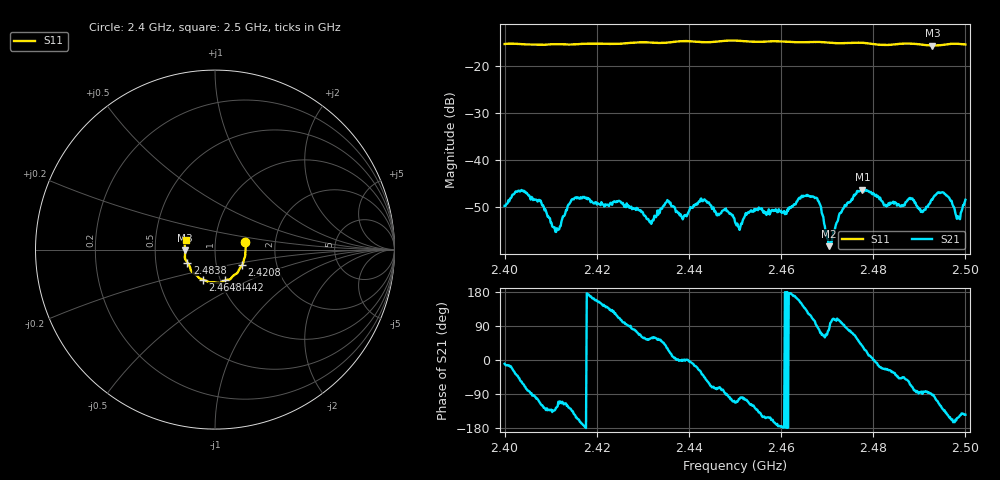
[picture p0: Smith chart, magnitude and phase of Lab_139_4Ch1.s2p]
# Hz S RI R 50
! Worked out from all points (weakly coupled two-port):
!   601 points, 2.4 GHz to 2.5 GHz, reference 50 ohm
!   highest |S21| = -46.22 dB at 2.4777 GHz (marker M1); lowest = -58.2 dB at 2.4703 GHz (marker M2)
!   lowest |S11| = -15.6 dB at 2.4928 GHz (marker M3), VSWR 1.40, Z = 35.8 - j0.366 ohm
!   |S11| at or under -10 dB: start of sweep to end of sweep
!   S12 and S22 are empty: the file has one direction only
!   S11 on the Smith chart (normalised r, x): 2.4 GHz: 1.40, +0.12; 2.4208 GHz: 1.33, -0.24; 2.4442 GHz: 1.05, -0.37; 2.4648 GHz: 0.83, -0.29; 2.4838 GHz: 0.73, -0.11; 2.5 GHz: 0.72, +0.08
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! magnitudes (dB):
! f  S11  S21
! 2.4 GHz  -15.3  -49.7
! 2.4042 GHz  -15.3  -46.4
! 2.4113 GHz  -15.3  -54.4
! 2.4143 GHz  -15.4  -48.8
! 2.4167 GHz  -15.2  -48.1
! 2.4208 GHz  -15.2  -49.5
! 2.4333 GHz  -15.0  -51.6
! 2.4442 GHz  -14.9  -48.9
! 2.45 GHz  -14.5  -53.1
! 2.4648 GHz  -14.9  -47.5
! 2.4667 GHz  -14.8  -47.7
! 2.4682 GHz  -14.8  -48.7
! 2.4703 GHz  -15.0  -58.2
! 2.4733 GHz  -15.1  -50.4
! 2.4777 GHz  -15.0  -46.2
! 2.4833 GHz  -15.4  -49.1
! 2.4838 GHz  -15.4  -49.2
! 2.4908 GHz  -15.4  -50.9
! 2.4928 GHz  -15.6  -48.4
! 2.4955 GHz  -15.4  -47.1
! 2.4983 GHz  -15.2  -51.8
! 2.5 GHz  -15.4  -48.4
